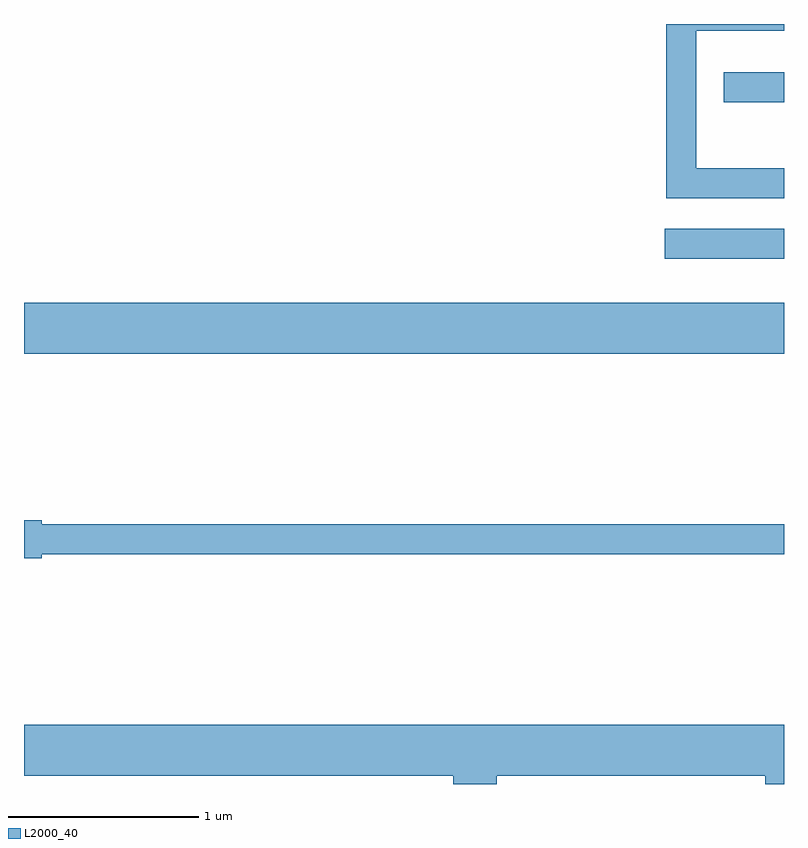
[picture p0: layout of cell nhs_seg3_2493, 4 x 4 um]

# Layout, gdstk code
import gdstk
lib = gdstk.Library(unit=1e-6, precision=1e-09)
def R(c, l, rs):  # rectangles x0, y0, x1, y1
    for r in rs: c.add(gdstk.rectangle(r[:2], r[2:], *l))
def P(c, l, *ps):  # polygons
    for p in ps: c.add(gdstk.Polygon(p, *l))
L2000_40 = (2000, 40)

nhs_seg3_2493 = lib.new_cell('nhs_seg3_2493')
R(nhs_seg3_2493, L2000_40, [(257.611,1208.156,261.611,1208.424), (260.983,1208.656,261.611,1208.814), (261.293,1209.481,261.611,1209.639)])
P(nhs_seg3_2493, L2000_40, [(261.611,1209.134),(261.149,1209.134),(261.149,1209.856),(261.611,1209.856),(261.611,1209.892),(260.991,1209.892),(260.991,1208.976),(261.611,1208.976)],
  [(257.704,1207.101),(261.611,1207.101),(261.611,1207.259),(257.704,1207.259),(257.704,1207.279),(257.611,1207.279),(257.611,1207.081),(257.704,1207.081)],
  [(260.099,1205.936),(261.511,1205.936),(261.511,1205.892),(261.611,1205.892),(261.611,1206.204),(257.611,1206.204),(257.611,1205.936),(259.871,1205.936),(259.871,1205.892),(260.099,1205.892)])

lib.write_gds('nhs_seg3_2493.gds')
